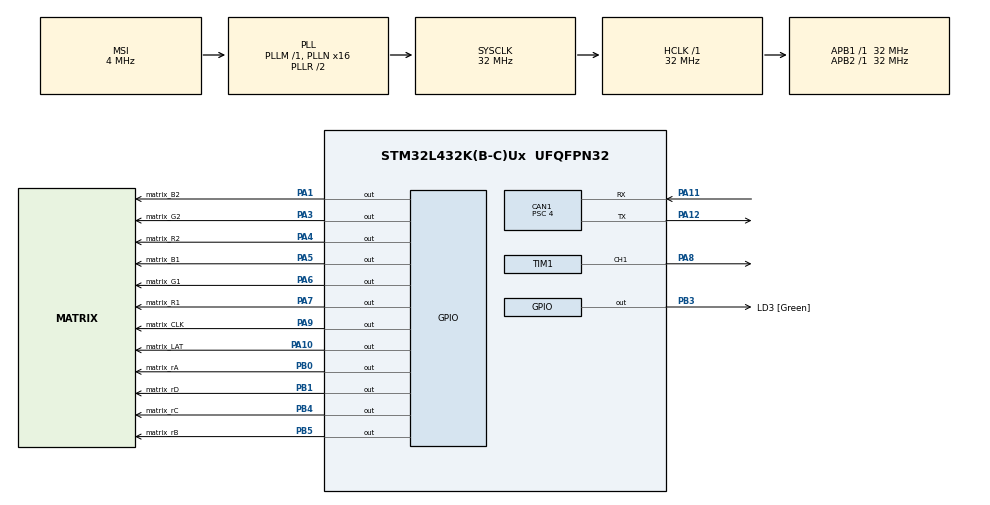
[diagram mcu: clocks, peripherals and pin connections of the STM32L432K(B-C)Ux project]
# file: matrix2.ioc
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CAN1.ABOM=ENABLE
CAN1.BS1=CAN_BS1_13TQ
CAN1.BS2=CAN_BS2_2TQ
CAN1.CalculateBaudRate=500000
CAN1.CalculateTimeBit=2000
CAN1.CalculateTimeQuantum=125.0
CAN1.NART=ENABLE
CAN1.Prescaler=4
Mcu.Family=STM32L4
Mcu.Name=STM32L432K(B-C)Ux
Mcu.Package=UFQFPN32
NVIC.CAN1_RX0_IRQn=true\:0\:0\:false\:false\:true\:true\:true\:true
NVIC.PriorityGroup=NVIC_PRIORITYGROUP_4
NVIC.TIM6_DAC_IRQn=true\:0\:0\:false\:false\:true\:true\:true\:true
PA0.GPIO_Label=MCO [High speed clock in]
PA0.Mode=HSE-External-Clock-Source-for-LittleOrca
PA0.Signal=RCC_CK_IN
PA1.GPIO_Label=matrix_B2
PA1.Signal=GPIO_Output
PA10.GPIO_Label=matrix_LAT
PA10.Signal=GPIO_Output
PA11.Mode=CAN_Activate
PA11.Signal=CAN1_RX
PA12.Mode=CAN_Activate
PA12.Signal=CAN1_TX
PA13\ (JTMS-SWDIO).GPIO_Label=SWDIO
PA13\ (JTMS-SWDIO).Mode=Serial_Wire
PA13\ (JTMS-SWDIO).Signal=SYS_JTMS-SWDIO
PA14\ (JTCK-SWCLK).GPIO_Label=SWCLK
PA14\ (JTCK-SWCLK).Mode=Serial_Wire
PA14\ (JTCK-SWCLK).Signal=SYS_JTCK-SWCLK
PA3.GPIO_Label=matrix_G2
PA3.Signal=GPIO_Output
PA4.GPIO_Label=matrix_R2
PA4.Signal=GPIO_Output
PA5.GPIO_Label=matrix_B1
PA5.Signal=GPIO_Output
PA6.GPIO_Label=matrix_G1
PA6.Signal=GPIO_Output
PA7.GPIO_Label=matrix_R1
PA7.Signal=GPIO_Output
PA8.GPIO_Speed=GPIO_SPEED_FREQ_VERY_HIGH
PA8.Signal=S_TIM1_CH1
PA9.GPIO_Label=matrix_CLK
PA9.Signal=GPIO_Output
PB0.GPIO_Label=matrix_rA
PB0.Signal=GPIO_Output
PB1.GPIO_Label=matrix_rD
PB1.Signal=GPIO_Output
PB3\ (JTDO-TRACESWO).GPIO_Label=LD3 [Green]
PB3\ (JTDO-TRACESWO).Signal=GPIO_Output
PB4\ (NJTRST).GPIO_Label=matrix_rC
PB4\ (NJTRST).Signal=GPIO_Output
PB5.GPIO_Label=matrix_rB
PB5.Signal=GPIO_Output
PC14-OSC32_IN\ (PC14).Mode=LSE-External-Oscillator
PC14-OSC32_IN\ (PC14).Signal=RCC_OSC32_IN
PC15-OSC32_OUT\ (PC15).Mode=LSE-External-Oscillator
PC15-OSC32_OUT\ (PC15).Signal=RCC_OSC32_OUT
ProjectManager.HeapSize=0x200
ProjectManager.StackSize=0x400
ProjectManager.TargetToolchain=STM32CubeIDE
RCC.AHBFreq_Value=32000000
RCC.APB1Freq_Value=32000000
RCC.APB1TimFreq_Value=32000000
RCC.APB2Freq_Value=32000000
RCC.APB2TimFreq_Value=32000000
RCC.CortexFreq_Value=32000000
RCC.HCLKFreq_Value=32000000
RCC.HSE_VALUE=8000000
RCC.HSI16_VALUE=16000000
RCC.HSI48_VALUE=48000000
RCC.HSI_VALUE=16000000
RCC.MSI_VALUE=4000000
RCC.PLLMUL=RCC_PLLMUL_4
RCC.PLLN=16
RCC.SYSCLKFreq_VALUE=32000000
RCC.SYSCLKSource=RCC_SYSCLKSOURCE_PLLCLK
RCC.VCOOutputFreq_Value=64000000
SH.S_TIM1_CH1.0=TIM1_CH1,PWM Generation1 CH1
TIM1.Channel-PWM\ Generation1\ CH1=TIM_CHANNEL_1
TIM1.OCIdleState_1=TIM_OCIDLESTATE_RESET
TIM1.OCMode_PWM-PWM\ Generation1\ CH1=TIM_OCMODE_PWM1
TIM1.OCPolarity_1=TIM_OCPOLARITY_LOW
TIM1.Period=1000
TIM1.Pulse-PWM\ Generation1\ CH1=500
TIM6.Period=5000
TIM6.Prescaler=7200-1
VP_TIM6_VS_ClockSourceINT.Mode=Enable_Timer
board=NUCLEO-L432KC

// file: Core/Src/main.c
/* USER CODE BEGIN Header */
/**
 ******************************************************************************
 * @file           : main.c
 * @brief          : Main program body
 ******************************************************************************
 * @attention
 *
 * Copyright (c) 2026 STMicroelectronics.
 * All rights reserved.
 *
 * This software is licensed under terms that can be found in the LICENSE file
 * in the root directory of this software component.
 * If no LICENSE file comes with this software, it is provided AS-IS.
 *
 ******************************************************************************
 */
/* USER CODE END Header */
#include "main.h"

CAN_HandleTypeDef hcan1;

TIM_HandleTypeDef htim1;
TIM_HandleTypeDef htim6;

/* USER CODE BEGIN PV */
uint8_t state = 0;
CAN_RxHeaderTypeDef rxHeader;
uint8_t rxData[8];
volatile int datacheck = 0;

volatile uint8_t hours = 0;
volatile uint8_t minutes = 0;

volatile int clockOn = 0;
volatile uint8_t dotsDisplayed = 0;
volatile uint8_t dotsFlag = 0;
/* USER CODE END PV */

void SystemClock_Config(void);
static void MX_GPIO_Init(void);
static void MX_CAN1_Init(void);
static void MX_TIM1_Init(void);
static void MX_TIM6_Init(void);

int main(void)
{

  /* USER CODE BEGIN 1 */
	uint8_t boardDisplay[32][64][3]; //[Row][Column][Color-RGB]

	void drawImage_dot(int sc, int sr) {
		static const uint8_t dotData[8][8] = {
			0,0,1,1,1,1,0,0,
			0,1,1,1,1,1,1,0,
			1,1,1,1,1,1,1,1,
			1,1,1,1,1,1,1,1,
			1,1,1,1,1,1,1,1,
			1,1,1,1,1,1,1,1,
			0,1,1,1,1,1,1,0,
			0,0,1,1,1,1,0,0
		};
		for (int r=0; r < 8; r++) {
			for (int c=0; c < 8; c++) {
				boardDisplay[r+sr][c+sc][0] =dotData[c][r];
			}
		}
	}

	void drawVoid(int sc, int sr, int xSize, int ySize) {
		for (int r=0; r < ySize; r++) {
					for (int c=0; c < xSize; c++) {
						boardDisplay[r+sr][c+sc][0] =0;
					}
				}
	}

	void drawNumber_zero(int sc, int sr) {
		static const uint8_t zeroData[24][12] = {
				0,0,0,0,1,1,1,1,0,0,0,0,
				0,0,0,1,1,1,1,1,1,0,0,0,
				0,0,1,1,1,1,1,1,1,1,0,0,
				0,0,1,1,1,0,0,1,1,1,0,0,
				0,1,1,1,0,0,0,0,1,1,1,0,
				0,1,1,1,0,0,0,0,1,1,1,0,
				0,1,1,1,0,0,0,0,1,1,1,0,
				1,1,1,0,0,0,0,0,0,1,1,1,
				1,1,1,0,0,0,0,0,0,1,1,1,
				1,1,1,0,0,0,0,0,0,1,1,1,
				1,1,1,0,0,0,0,0,0,1,1,1,
				1,1,1,0,0,0,0,0,0,1,1,1,
				1,1,1,0,0,0,0,0,0,1,1,1,
				1,1,1,0,0,0,0,0,0,1,1,1,
				1,1,1,0,0,0,0,0,0,1,1,1,
				1,1,1,0,0,0,0,0,0,1,1,1,
				1,1,1,0,0,0,0,0,0,1,1,1,
				0,1,1,1,0,0,0,0,1,1,1,0,
				0,1,1,1,0,0,0,0,1,1,1,0,
				0,1,1,1,0,0,0,0,1,1,1,0,
				0,0,1,1,1,0,0,1,1,1,0,0,
				0,0,1,1,1,1,1,1,1,1,0,0,
				0,0,0,1,1,1,1,1,1,0,0,0,
				0,0,0,0,1,1,1,1,0,0,0,0
		};
		for (int r=0; r < 24; r++) {
			for (int c=0; c < 12; c++) {
				boardDisplay[r+sr][c+sc][0] =zeroData[r][c];
			}
		}
	}

	void drawNumber_one(int sc, int sr) {
		static const uint8_t oneData[24][12] = {
						0,0,0,0,1,1,1,1,0,0,0,0,
						0,0,0,1,1,1,1,1,0,0,0,0,
						0,0,1,1,1,1,1,1,0,0,0,0,
						0,1,1,1,1,1,1,1,0,0,0,0,
						1,1,1,1,1,1,1,1,0,0,0,0,
						1,1,1,1,1,1,1,1,0,0,0,0,
						1,1,1,1,1,1,1,1,0,0,0,0,
						0,0,0,0,1,1,1,1,0,0,0,0,
						0,0,0,0,1,1,1,1,0,0,0,0,
						0,0,0,0,1,1,1,1,0,0,0,0,
						0,0,0,0,1,1,1,1,0,0,0,0,
						0,0,0,0,1,1,1,1,0,0,0,0,
						0,0,0,0,1,1,1,1,0,0,0,0,
						0,0,0,0,1,1,1,1,0,0,0,0,
						0,0,0,0,1,1,1,1,0,0,0,0,
						0,0,0,0,1,1,1,1,0,0,0,0,
						0,0,0,0,1,1,1,1,0,0,0,0,
						0,0,0,0,1,1,1,1,0,0,0,0,
						0,0,0,0,1,1,1,1,0,0,0,0,
						0,0,0,0,1,1,1,1,0,0,0,0,
						0,1,1,1,1,1,1,1,1,1,1,0,
						1,1,1,1,1,1,1,1,1,1,1,1,
						1,1,1,1,1,1,1,1,1,1,1,1,
						1,1,1,1,1,1,1,1,1,1,1,1
				};
				for (int r=0; r < 24; r++) {
					for (int c=0; c < 12; c++) {
						boardDisplay[r+sr][c+sc][0] =oneData[r][c];
					}
				}
	}

	void drawNumber_two(int sc, int sr) {
		static const uint8_t twoData[24][12] = {
		    0,0,0,1,1,1,1,0,0,0,0,0,
		    0,0,1,1,1,1,1,1,0,0,0,0,
		    0,1,1,1,1,1,1,1,1,0,0,0,
		    1,1,1,1,1,1,1,1,1,1,0,0,
		    1,1,1,1,1,1,1,1,1,1,0,0,
		    0,0,0,0,0,0,1,1,1,1,0,0,
		    0,0,0,0,0,1,1,1,1,0,0,0,
		    0,0,0,0,1,1,1,1,0,0,0,0,
		    0,0,0,1,1,1,1,0,0,0,0,0,
		    0,0,1,1,1,1,0,0,0,0,0,0,
		    0,1,1,1,1,0,0,0,0,0,0,0,
		    1,1,1,1,0,0,0,0,0,0,0,0,
		    1,1,1,0,0,0,0,0,0,0,0,0,
		    1,1,0,0,0,0,0,0,0,0,0,0,
		    1,1,0,0,0,0,0,0,0,0,0,0,
		    1,1,0,0,0,0,0,0,0,0,0,0,
		    1,1,1,1,1,1,1,1,1,1,0,0,
		    1,1,1,1,1,1,1,1,1,1,1,0,
		    1,1,1,1,1,1,1,1,1,1,1,0,
		    1,1,1,1,1,1,1,1,1,1,1,0,
		    1,1,1,1,1,1,1,1,1,1,1,0,
		    1,1,1,1,1,1,1,1,1,1,1,0,
		    1,1,1,1,1,1,1,1,1,1,1,0,
		    0,0,0,0,0,0,0,0,0,0,0,0
		};
			for (int r=0; r < 24; r++) {
				for (int c=0; c < 12; c++) {
					boardDisplay[r+sr][c+sc][0] =twoData[r][c];
				}
			}
		}

	void drawNumber_three(int sc, int sr) {
	    static const uint8_t threeData[24][12] = {
	        0,1,1,1,1,1,1,1,1,1,0,0,
	        1,1,1,1,1,1,1,1,1,1,1,0,
	        1,1,1,1,1,1,1,1,1,1,1,0,
	        0,0,0,0,0,0,1,1,1,1,0,0,
	        0,0,0,0,0,1,1,1,1,0,0,0,
	        0,0,0,0,1,1,1,1,0,0,0,0,
	        0,0,0,1,1,1,1,0,0,0,0,0,
	        0,0,1,1,1,1,0,0,0,0,0,0,
	        0,0,1,1,1,0,0,0,0,0,0,0,
	        0,0,1,1,1,1,1,0,0,0,0,0,
	        0,0,0,0,1,1,1,1,1,0,0,0,
	        0,0,0,0,0,1,1,1,1,1,0,0,
	        0,0,0,0,0,0,0,1,1,1,1,0,
	        0,0,0,0,0,0,0,0,1,1,1,0,
	        0,0,0,0,0,0,0,1,1,1,1,0,
	        0,0,0,0,0,0,1,1,1,1,0,0,
	        0,0,0,0,0,1,1,1,1,0,0,0,
	        0,0,0,0,1,1,1,1,0,0,0,0,
	        0,0,0,1,1,1,1,0,0,0,0,0,
	        0,1,1,1,1,1,1,1,1,1,0,0,
	        1,1,1,1,1,1,1,1,1,1,1,0,
	        1,1,1,1,1,1,1,1,1,1,1,0,
	        0,1,1,1,1,1,1,1,1,1,0,0,
	        0,0,0,0,0,0,0,0,0,0,0,0
	    };

	    for (int r = 0; r < 24; r++) {
	        for (int c = 0; c < 12; c++) {
	            boardDisplay[r + sr][c + sc][0] = threeData[r][c];
	        }
	    }
	}

	void drawNumber_four(int sc, int sr) {
	    static const uint8_t fourData[24][12] = {
	        0,0,0,0,1,1,1,1,0,0,0,0,
	        0,0,0,1,1,1,1,1,0,0,0,0,
	        0,0,1,1,1,1,1,1,0,0,0,0,
	        0,1,1,1,1,1,1,1,0,0,0,0,
	        1,1,1,1,1,1,1,1,0,0,0,0,

	        1,1,1,1,0,0,1,1,1,1,0,0,
	        1,1,1,1,0,0,1,1,1,1,0,0,
	        1,1,1,1,0,0,1,1,1,1,0,0,
	        1,1,1,1,0,0,1,1,1,1,0,0,
	        1,1,1,1,0,0,1,1,1,1,0,0,

	        1,1,1,1,0,0,1,1,1,1,0,0,
	        1,1,1,1,0,0,1,1,1,1,0,0,

	        1,1,1,1,1,1,1,1,1,1,1,1,  // middle bar
	        1,1,1,1,1,1,1,1,1,1,1,1,

	        0,0,0,0,0,0,1,1,1,1,0,0,
	        0,0,0,0,0,0,1,1,1,1,0,0,
	        0,0,0,0,0,0,1,1,1,1,0,0,
	        0,0,0,0,0,0,1,1,1,1,0,0,
	        0,0,0,0,0,0,1,1,1,1,0,0,
	        0,0,0,0,0,0,1,1,1,1,0,0,
	        0,0,0,0,0,0,1,1,1,1,0,0,
	        0,0,0,0,0,0,1,1,1,1,0,0,
	        0,0,0,0,0,0,1,1,1,1,0,0,
	        0,0,0,0,0,0,1,1,1,1,0,0
	    };

	    for (int r = 0; r < 24; r++) {
	        for (int c = 0; c < 12; c++) {
	            boardDisplay[r + sr][c + sc][0] = fourData[r][c];
	        }
	    }
	}

	void drawNumber_five(int sc, int sr) {
	    static const uint8_t fiveData[24][12] = {
	        // top bar
	        1,1,1,1,1,1,1,1,1,1,1,1,
	        1,1,1,1,1,1,1,1,1,1,1,1,

	        // upper left vertical
	        1,1,1,1,0,0,0,0,0,0,0,0,
	        1,1,1,1,0,0,0,0,0,0,0,0,
	        1,1,1,1,0,0,0,0,0,0,0,0,
	        1,1,1,1,0,0,0,0,0,0,0,0,

	        // middle bar
	        1,1,1,1,1,1,1,1,1,1,0,0,
	        1,1,1,1,1,1,1,1,1,1,0,0,

	        // lower right vertical
	        0,0,0,0,0,0,1,1,1,1,0,0,
	        0,0,0,0,0,0,1,1,1,1,0,0,
	        0,0,0,0,0,0,1,1,1,1,0,0,
	        0,0,0,0,0,0,1,1,1,1,0,0,
	        0,0,0,0,0,0,1,1,1,1,0,0,
	        0,0,0,0,0,0,1,1,1,1,0,0,

	        // bottom bar
	        1,1,1,1,1,1,1,1,1,1,1,1,
	        1,1,1,1,1,1,1,1,1,1,1,1,

	        // padding rows (to reach 24 total)
	        0,0,0,0,0,0,0,0,0,0,0,0,
	        0,0,0,0,0,0,0,0,0,0,0,0,
	        0,0,0,0,0,0,0,0,0,0,0,0,
	        0,0,0,0,0,0,0,0,0,0,0,0,
	        0,0,0,0,0,0,0,0,0,0,0,0,
	        0,0,0,0,0,0,0,0,0,0,0,0
	    };

	    for (int r = 0; r < 24; r++) {
	        for (int c = 0; c < 12; c++) {
	            boardDisplay[r + sr][c + sc][0] = fiveData[r][c];
	        }
	    }
	}

	void drawNumber_six(int sc, int sr) {
			static const uint8_t oneData[24][12] = {
							0,0,0,0,0,0,0,0,0,1,1,1,
							0,0,0,0,0,0,0,0,1,1,1,0,
							0,0,0,0,0,0,0,1,1,1,0,0,
							0,0,0,0,0,0,1,1,1,0,0,0,
							0,0,0,0,0,1,1,1,0,0,0,0,
							0,0,0,0,1,1,1,0,0,0,0,0,
							0,0,0,1,1,1,0,0,0,0,0,0,
							0,0,0,1,1,1,0,0,0,0,0,0,
							0,0,1,1,1,0,0,0,0,0,0,0,
							0,0,1,1,1,0,0,0,0,0,0,0,
							0,1,1,1,0,0,0,0,0,0,0,0,
							0,1,1,1,1,1,1,1,1,0,0,0,
							1,1,1,1,1,1,1,1,1,1,0,0,
							1,1,1,1,1,1,1,1,1,1,1,0,
							1,1,1,1,1,0,0,1,1,1,1,1,
							1,1,1,1,0,0,0,0,1,1,1,1,
							1,1,1,0,0,0,0,0,0,1,1,1,
							1,1,1,0,0,0,0,0,0,1,1,1,
							1,1,1,0,0,0,0,0,0,1,1,1,
							1,1,1,1,0,0,0,0,1,1,1,1,
							1,1,1,1,1,0,0,1,1,1,1,1,
							0,1,1,1,1,1,1,1,1,1,1,0,
							0,0,1,1,1,1,1,1,1,1,0,0,
							0,0,0,1,1,1,1,1,1,0,0,0
					};
					for (int r=0; r < 24; r++) {
						for (int c=0; c < 12; c++) {
							boardDisplay[r+sr][c+sc][0] =oneData[r][c];
						}
					}
		}

	void drawNumber_seven(int sc, int sr) {
	    static const uint8_t sevenData[24][12] = {
	        1,1,1,1,1,1,1,1,1,1,1,1,
	        1,1,1,1,1,1,1,1,1,1,1,1,
	        1,1,1,1,1,1,1,1,1,1,1,1,
	        0,0,0,0,0,0,1,1,1,1,0,0,
	        0,0,0,0,0,1,1,1,0,0,0,0,
	        0,0,0,0,1,1,0,0,0,0,0,0,
	        0,0,0,1,1,0,0,0,0,0,0,0,
	        0,0,1,1,0,0,0,0,0,0,0,0,
	        0,1,1,0,0,0,0,0,0,0,0,0,
	        1,1,0,0,0,0,0,0,0,0,0,0,
	        1,0,0,0,0,0,0,0,0,0,0,0,
	        1,0,0,0,0,0,0,0,0,0,0,0,
	        1,0,0,0,0,0,0,0,0,0,0,0,
	        1,0,0,0,0,0,0,0,0,0,0,0,
	        1,0,0,0,0,0,0,0,0,0,0,0,
	        1,0,0,0,0,0,0,0,0,0,0,0,
	        1,0,0,0,0,0,0,0,0,0,0,0,
	        1,0,0,0,0,0,0,0,0,0,0,0,
	        1,0,0,0,0,0,0,0,0,0,0,0,
	        1,0,0,0,0,0,0,0,0,0,0,0,
	        1,0,0,0,0,0,0,0,0,0,0,0,
	        1,0,0,0,0,0,0,0,0,0,0,0,
	        1,0,0,0,0,0,0,0,0,0,0,0,
	        1,0,0,0,0,0,0,0,0,0,0,0
	    };
	    for (int r = 0; r < 24; r++) {
	        for (int c = 0; c < 12; c++) {
	            boardDisplay[r + sr][c + sc][0] = sevenData[r][c];
	        }
	    }
	}

	void drawNumber_eight(int sc, int sr) {
	    static const uint8_t eightData[24][12] = {
	        0,0,0,1,1,1,1,1,1,0,0,0,
	        0,0,1,1,1,1,1,1,1,1,0,0,
	        0,1,1,1,0,0,0,0,1,1,1,0,
	        0,1,1,0,0,0,0,0,0,1,1,0,
	        1,1,1,0,0,0,0,0,0,1,1,1,
	        1,1,1,0,0,0,0,0,0,1,1,1,
	        1,1,1,0,0,0,0,0,0,1,1,1,
	        1,1,1,0,0,0,0,0,0,1,1,1,
	        0,1,1,1,0,0,0,0,1,1,1,0,
	        0,0,1,1,1,0,0,1,1,1,0,0,
	        0,0,0,1,1,1,1,1,1,0,0,0,
	        0,0,1,1,1,0,0,1,1,1,0,0,
	        0,1,1,1,0,0,0,0,1,1,1,0,
	        1,1,1,0,0,0,0,0,0,1,1,1,
	        1,1,1,0,0,0,0,0,0,1,1,1,
	        1,1,1,0,0,0,0,0,0,1,1,1,
	        1,1,1,0,0,0,0,0,0,1,1,1,
	        0,1,1,1,0,0,0,0,1,1,1,0,
	        0,0,1,1,1,1,1,1,1,1,0,0,
	        0,0,0,1,1,1,1,1,1,0,0,0,
	        0,0,0,0,1,1,1,1,0,0,0,0,
	        0,0,0,0,0,1,1,0,0,0,0,0,
	        0,0,0,0,0,1,1,0,0,0,0,0,
	        0,0,0,0,0,0,0,0,0,0,0,0
	    };

	    for (int r = 0; r < 24; r++) {
	        for (int c = 0; c < 12; c++) {
	            boardDisplay[r + sr][c + sc][0] = eightData[r][c];
	        }
	    }
	}

	void drawNumber_nine(int sc, int sr) {
	    static const uint8_t nineData[24][12] = {
	        0,0,0,1,1,1,1,1,1,0,0,0,
	        0,0,1,1,1,1,1,1,1,1,0,0,
	        0,1,1,1,1,1,0,0,1,1,1,0,
	        1,1,1,1,1,0,0,0,1,1,1,1,
	        1,1,1,1,0,0,0,0,1,1,1,1,
	        1,1,1,0,0,0,0,0,0,1,1,1,
	        1,1,1,0,0,0,0,0,0,1,1,1,
	        1,1,1,0,0,0,0,0,0,1,1,1,
	        1,1,1,1,0,0,0,0,1,1,1,1,
	        1,1,1,1,1,0,0,1,1,1,1,1,
	        0,1,1,1,1,1,1,1,1,1,1,0,
	        0,0,1,1,1,1,1,1,1,1,0,0,
	        0,0,0,0,0,0,0,1,1,1,1,1,
	        0,0,0,0,0,0,0,0,1,1,1,1,
	        0,0,0,0,0,0,0,0,0,1,1,1,
	        0,0,0,0,0,0,0,0,0,1,1,1,
	        0,0,0,0,0,0,0,0,0,1,1,1,
	        0,0,0,0,0,0,0,0,1,1,1,1,
	        0,1,1,1,1,1,0,0,1,1,1,1,
	        0,0,1,1,1,1,1,1,1,1,0,0,
	        0,0,0,1,1,1,1,1,1,0,0,0,
	        0,0,0,0,0,0,1,1,1,0,0,0,
	        0,0,0,0,0,1,1,1,0,0,0,0,
	        0,0,0,0,1,1,1,0,0,0,0,0
	    };

	    for (int r = 0; r < 24; r++) {
	        for (int c = 0; c < 12; c++) {
	            boardDisplay[r + sr][c + sc][0] = nineData[r][c];
	        }
	    }
	}

	void printDigit(uint8_t digit, int x) {
		if (digit == 0) {
		    drawNumber_zero(x, 4);
		}
		else if (digit == 1) {
		    drawNumber_one(x, 4);
		}
		else if (digit == 2) {
		    drawNumber_two(x, 4);
		}
		else if (digit == 3) {
		    drawNumber_three(x, 4);
		}
		else if (digit == 4) {
		    drawNumber_four(x, 4);
		}
		else if (digit == 5) {
		    drawNumber_five(x, 4);
		}
		else if (digit == 6) {
		    drawNumber_six(x, 4);
		}
		else if (digit == 7) {
		    drawNumber_seven(x, 4);
		}
		else if (digit == 8) {
		    drawNumber_eight(x, 4);
		}
		else if (digit == 9) {
		    drawNumber_nine(x, 4);
		}
	}

	void printTime(uint8_t hours, uint8_t minutes) {
		uint8_t digit_1 = hours/10;
		uint8_t digit_2 = hours%10;
		uint8_t digit_3 = minutes/10;
		uint8_t digit_4 = minutes%10;
		printDigit(digit_1, 0);
		printDigit(digit_2, 14);
		printDigit(digit_3, 38);
		printDigit(digit_4, 52);
	}

  /* USER CODE END 1 */

  /* MCU Configuration--------------------------------------------------------*/

  /* Reset of all peripherals, Initializes the Flash interface and the Systick. */
  HAL_Init();

  /* Configure the system clock */
  SystemClock_Config();

  /* Initialize all configured peripherals */
  MX_GPIO_Init();
  MX_CAN1_Init();
  MX_TIM1_Init();
  MX_TIM6_Init();
  /* USER CODE BEGIN 2 */
	HAL_GPIO_WritePin(GPIOA, matrix_R1_Pin, GPIO_PIN_RESET);
	HAL_GPIO_WritePin(GPIOA, matrix_B1_Pin, GPIO_PIN_RESET);
	HAL_GPIO_WritePin(GPIOA, matrix_G1_Pin, GPIO_PIN_RESET);

	HAL_GPIO_WritePin(GPIOA, matrix_R2_Pin, GPIO_PIN_RESET);
	HAL_GPIO_WritePin(GPIOA, matrix_B2_Pin, GPIO_PIN_RESET);
	HAL_GPIO_WritePin(GPIOA, matrix_G2_Pin, GPIO_PIN_RESET);

	HAL_GPIO_WritePin(GPIOB, matrix_rA_Pin, GPIO_PIN_RESET);
	HAL_GPIO_WritePin(GPIOB, matrix_rB_Pin, GPIO_PIN_RESET);
	HAL_GPIO_WritePin(GPIOB, matrix_rC_Pin, GPIO_PIN_RESET);
	HAL_GPIO_WritePin(GPIOB, matrix_rD_Pin, GPIO_PIN_RESET);

	HAL_GPIO_WritePin(GPIOA, matrix_LAT_Pin, GPIO_PIN_RESET);
	HAL_GPIO_WritePin(GPIOA, matrix_CLK_Pin, GPIO_PIN_RESET);

	HAL_TIM_PWM_Start(&htim1, TIM_CHANNEL_1);

	CAN_FilterTypeDef filter;

	filter.FilterBank = 0;
	filter.FilterMode = CAN_FILTERMODE_IDMASK;
	filter.FilterScale = CAN_FILTERSCALE_32BIT;
	filter.FilterIdHigh = 0;
	filter.FilterIdLow = 0;
	filter.FilterMaskIdHigh = 0;
	filter.FilterMaskIdLow = 0;
	filter.FilterFIFOAssignment = CAN_FILTER_FIFO0;
	filter.FilterActivation = ENABLE;

	HAL_CAN_ConfigFilter(&hcan1, &filter);
	HAL_CAN_Start(&hcan1);
	if (HAL_CAN_ActivateNotification(&hcan1, CAN_IT_RX_FIFO0_MSG_PENDING)
			!= HAL_OK) {
		Error_Handler();
	}

	HAL_Delay(1000);

	for (int r = 0; r < 32; r++) {
		for (int c = 0; c < 64; c++) {
			boardDisplay[r][c][0] = 0;
			boardDisplay[r][c][1] = 0;
			boardDisplay[r][c][2] = 0;
		}
	}
	int row = 0;

	/*HAL_GPIO_WritePin(GPIOA, matrix_R1_Pin, GPIO_PIN_SET);
	 HAL_Delay(1);
	 HAL_GPIO_WritePin(GPIOA, matrix_CLK_Pin, GPIO_PIN_SET);
	 HAL_Delay(1);
	 HAL_GPIO_WritePin(GPIOA, matrix_CLK_Pin, GPIO_PIN_RESET);
	 HAL_Delay(1);
	 HAL_GPIO_WritePin(GPIOA, matrix_LAT_Pin, GPIO_PIN_SET);
	 HAL_Delay(1);
	 HAL_GPIO_WritePin(GPIOA, matrix_LAT_Pin, GPIO_PIN_RESET);*/
  /* USER CODE END 2 */

  /* Infinite loop */
  /* USER CODE BEGIN WHILE */
	while (1) {
		if (datacheck == 1) {
			datacheck = 0;
			drawImage_dot(28, 6);
			drawImage_dot(28, 18);

			drawNumber_eight(0,4);
			drawNumber_nine(14,4);
			drawNumber_six(38,4);
			drawNumber_seven(52,4);
		}
		else if (datacheck == 2) {
			datacheck = 0;
			if (clockOn) {
				printTime(rxData[0], rxData[1]);
			}
		}
		else if (datacheck == 3) {
			datacheck = 0;
			clockOn = !clockOn;
			if (clockOn) {
				HAL_TIM_Base_Start_IT(&htim6);
			}
			else {
				HAL_TIM_Base_Stop_IT(&htim6);
			}
		}

		if (dotsFlag) {
			dotsDisplayed = !dotsDisplayed;
			if (dotsDisplayed) {
				drawImage_dot(28, 6);
				drawImage_dot(28, 18);
			}else {
				drawVoid(28,6,8,8);
				drawVoid(28, 18, 8, 8);
			}
			dotsFlag = 0;
		}

		if (row >= 15) {
			row = 0;
		} else {
			row += 1;
		}
		int dRow = row;

		__HAL_TIM_SET_COMPARE(&htim1, TIM_CHANNEL_1, 0);

		for (int b = 0; b < 1; b++) {
			HAL_GPIO_WritePin(GPIOA, matrix_LAT_Pin, GPIO_PIN_SET);
			__HAL_TIM_SET_COMPARE(&htim1, TIM_CHANNEL_1, 1000);

			HAL_GPIO_WritePin(GPIOA, matrix_LAT_Pin, GPIO_PIN_RESET);

			int reqThres = 1 << b;
			int row2 = row + 16;
			for (int c = 0; c < 64; c++) {
				if (boardDisplay[row][c][0] >= reqThres) {
					HAL_GPIO_WritePin(GPIOA, matrix_R1_Pin, GPIO_PIN_SET);
				}

				if (boardDisplay[row2][c][0] >= reqThres) {
					HAL_GPIO_WritePin(GPIOA, matrix_R2_Pin, GPIO_PIN_SET);
				}

				if (boardDisplay[row][c][1] >= reqThres) {
					HAL_GPIO_WritePin(GPIOA, matrix_G1_Pin, GPIO_PIN_SET);
				}

				if (boardDisplay[row2][c][1] >= reqThres) {
					HAL_GPIO_WritePin(GPIOA, matrix_G2_Pin, GPIO_PIN_SET);
				}
				/*if (row==0) {
					HAL_GPIO_WritePin(GPIOA, matrix_R1_Pin, GPIO_PIN_SET);
					HAL_GPIO_WritePin(GPIOA, matrix_R2_Pin, GPIO_PIN_SET);
				}*/

				//Toggle clock
				HAL_GPIO_WritePin(GPIOA, matrix_CLK_Pin, GPIO_PIN_SET);
				HAL_GPIO_WritePin(GPIOA, matrix_CLK_Pin, GPIO_PIN_RESET);

				__HAL_TIM_SET_COMPARE(&htim1, TIM_CHANNEL_1, 1000);

				//Turn pins off for next cycle
				HAL_GPIO_WritePin(GPIOA, matrix_R1_Pin, GPIO_PIN_RESET);
				HAL_GPIO_WritePin(GPIOA, matrix_G1_Pin, GPIO_PIN_RESET);
				HAL_GPIO_WritePin(GPIOA, matrix_B1_Pin, GPIO_PIN_RESET);
				HAL_GPIO_WritePin(GPIOA, matrix_R2_Pin, GPIO_PIN_RESET);
				HAL_GPIO_WritePin(GPIOA, matrix_G2_Pin, GPIO_PIN_RESET);
				HAL_GPIO_WritePin(GPIOA, matrix_B2_Pin, GPIO_PIN_RESET);
			}
			if (dRow & 1) {
						HAL_GPIO_WritePin(GPIOB, matrix_rA_Pin, GPIO_PIN_SET);
					} else {
						HAL_GPIO_WritePin(GPIOB, matrix_rA_Pin, GPIO_PIN_RESET);
					}
					if (dRow & 0b10) {
						HAL_GPIO_WritePin(GPIOB, matrix_rB_Pin, GPIO_PIN_SET);
					} else {
						HAL_GPIO_WritePin(GPIOB, matrix_rB_Pin, GPIO_PIN_RESET);
					}
					if (dRow & 0b100) {
						HAL_GPIO_WritePin(GPIOB, matrix_rC_Pin, GPIO_PIN_SET);
					} else {
						HAL_GPIO_WritePin(GPIOB, matrix_rC_Pin, GPIO_PIN_RESET);
					}
					if (dRow & 0b1000) {
						HAL_GPIO_WritePin(GPIOB, matrix_rD_Pin, GPIO_PIN_SET);
					} else {
						HAL_GPIO_WritePin(GPIOB, matrix_rD_Pin, GPIO_PIN_RESET);
					}
			//__HAL_TIM_SET_COMPARE(&htim1, TIM_CHANNEL_1, 250);
		}
    /* USER CODE END WHILE */

	}
}

void SystemClock_Config(void)
{
  RCC_OscInitTypeDef RCC_OscInitStruct = {0};
  RCC_ClkInitTypeDef RCC_ClkInitStruct = {0};

  /** Configure the main internal regulator output voltage
  */
  if (HAL_PWREx_ControlVoltageScaling(PWR_REGULATOR_VOLTAGE_SCALE1) != HAL_OK)
  {
    Error_Handler();
  }

  /** Configure LSE Drive Capability
  */
  HAL_PWR_EnableBkUpAccess();
  __HAL_RCC_LSEDRIVE_CONFIG(RCC_LSEDRIVE_LOW);

  /** Initializes the RCC Oscillators according to the specified parameters
  * in the RCC_OscInitTypeDef structure.
  */
  RCC_OscInitStruct.OscillatorType = RCC_OSCILLATORTYPE_LSE|RCC_OSCILLATORTYPE_MSI;
  RCC_OscInitStruct.LSEState = RCC_LSE_ON;
  RCC_OscInitStruct.MSIState = RCC_MSI_ON;
  RCC_OscInitStruct.MSICalibrationValue = 0;
  RCC_OscInitStruct.MSIClockRange = RCC_MSIRANGE_6;
  RCC_OscInitStruct.PLL.PLLState = RCC_PLL_ON;
  RCC_OscInitStruct.PLL.PLLSource = RCC_PLLSOURCE_MSI;
  RCC_OscInitStruct.PLL.PLLM = 1;
  RCC_OscInitStruct.PLL.PLLN = 16;
  RCC_OscInitStruct.PLL.PLLP = RCC_PLLP_DIV7;
  RCC_OscInitStruct.PLL.PLLQ = RCC_PLLQ_DIV2;
  RCC_OscInitStruct.PLL.PLLR = RCC_PLLR_DIV2;
  if (HAL_RCC_OscConfig(&RCC_OscInitStruct) != HAL_OK)
  {
    Error_Handler();
  }

  /** Initializes the CPU, AHB and APB buses clocks
  */
  RCC_ClkInitStruct.ClockType = RCC_CLOCKTYPE_HCLK|RCC_CLOCKTYPE_SYSCLK
                              |RCC_CLOCKTYPE_PCLK1|RCC_CLOCKTYPE_PCLK2;
  RCC_ClkInitStruct.SYSCLKSource = RCC_SYSCLKSOURCE_PLLCLK;
  RCC_ClkInitStruct.AHBCLKDivider = RCC_SYSCLK_DIV1;
  RCC_ClkInitStruct.APB1CLKDivider = RCC_HCLK_DIV1;
  RCC_ClkInitStruct.APB2CLKDivider = RCC_HCLK_DIV1;

  if (HAL_RCC_ClockConfig(&RCC_ClkInitStruct, FLASH_LATENCY_1) != HAL_OK)
  {
    Error_Handler();
  }

  /** Enable MSI Auto calibration
  */
  HAL_RCCEx_EnableMSIPLLMode();
}

static void MX_CAN1_Init(void)
{

  hcan1.Instance = CAN1;
  hcan1.Init.Prescaler = 4;
  hcan1.Init.Mode = CAN_MODE_NORMAL;
  hcan1.Init.SyncJumpWidth = CAN_SJW_1TQ;
  hcan1.Init.TimeSeg1 = CAN_BS1_13TQ;
  hcan1.Init.TimeSeg2 = CAN_BS2_2TQ;
  hcan1.Init.TimeTriggeredMode = DISABLE;
  hcan1.Init.AutoBusOff = ENABLE;
  hcan1.Init.AutoWakeUp = DISABLE;
  hcan1.Init.AutoRetransmission = ENABLE;
  hcan1.Init.ReceiveFifoLocked = DISABLE;
  hcan1.Init.TransmitFifoPriority = DISABLE;
  if (HAL_CAN_Init(&hcan1) != HAL_OK)
  {
    Error_Handler();
  }

}

static void MX_TIM1_Init(void)
{

  TIM_MasterConfigTypeDef sMasterConfig = {0};
  TIM_OC_InitTypeDef sConfigOC = {0};
  TIM_BreakDeadTimeConfigTypeDef sBreakDeadTimeConfig = {0};

  htim1.Instance = TIM1;
  htim1.Init.Prescaler = 0;
  htim1.Init.CounterMode = TIM_COUNTERMODE_UP;
  htim1.Init.Period = 1000;
  htim1.Init.ClockDivision = TIM_CLOCKDIVISION_DIV1;
  htim1.Init.RepetitionCounter = 0;
  htim1.Init.AutoReloadPreload = TIM_AUTORELOAD_PRELOAD_DISABLE;
  if (HAL_TIM_PWM_Init(&htim1) != HAL_OK)
  {
    Error_Handler();
  }
  sMasterConfig.MasterOutputTrigger = TIM_TRGO_RESET;
  sMasterConfig.MasterOutputTrigger2 = TIM_TRGO2_RESET;
  sMasterConfig.MasterSlaveMode = TIM_MASTERSLAVEMODE_DISABLE;
  if (HAL_TIMEx_MasterConfigSynchronization(&htim1, &sMasterConfig) != HAL_OK)
  {
    Error_Handler();
  }
  sConfigOC.OCMode = TIM_OCMODE_PWM1;
  sConfigOC.Pulse = 500;
  sConfigOC.OCPolarity = TIM_OCPOLARITY_LOW;
  sConfigOC.OCNPolarity = TIM_OCNPOLARITY_HIGH;
  sConfigOC.OCFastMode = TIM_OCFAST_DISABLE;
  sConfigOC.OCIdleState = TIM_OCIDLESTATE_RESET;
  sConfigOC.OCNIdleState = TIM_OCNIDLESTATE_RESET;
  if (HAL_TIM_PWM_ConfigChannel(&htim1, &sConfigOC, TIM_CHANNEL_1) != HAL_OK)
  {
    Error_Handler();
  }
  sBreakDeadTimeConfig.OffStateRunMode = TIM_OSSR_DISABLE;
  sBreakDeadTimeConfig.OffStateIDLEMode = TIM_OSSI_DISABLE;
  sBreakDeadTimeConfig.LockLevel = TIM_LOCKLEVEL_OFF;
  sBreakDeadTimeConfig.DeadTime = 0;
  sBreakDeadTimeConfig.BreakState = TIM_BREAK_DISABLE;
  sBreakDeadTimeConfig.BreakPolarity = TIM_BREAKPOLARITY_HIGH;
  sBreakDeadTimeConfig.BreakFilter = 0;
  sBreakDeadTimeConfig.Break2State = TIM_BREAK2_DISABLE;
  sBreakDeadTimeConfig.Break2Polarity = TIM_BREAK2POLARITY_HIGH;
  sBreakDeadTimeConfig.Break2Filter = 0;
  sBreakDeadTimeConfig.AutomaticOutput = TIM_AUTOMATICOUTPUT_DISABLE;
  if (HAL_TIMEx_ConfigBreakDeadTime(&htim1, &sBreakDeadTimeConfig) != HAL_OK)
  {
    Error_Handler();
  }
  HAL_TIM_MspPostInit(&htim1);

}

static void MX_TIM6_Init(void)
{

  TIM_MasterConfigTypeDef sMasterConfig = {0};

  htim6.Instance = TIM6;
  htim6.Init.Prescaler = 7200-1;
  htim6.Init.CounterMode = TIM_COUNTERMODE_UP;
  htim6.Init.Period = 5000;
  htim6.Init.AutoReloadPreload = TIM_AUTORELOAD_PRELOAD_DISABLE;
  if (HAL_TIM_Base_Init(&htim6) != HAL_OK)
  {
    Error_Handler();
  }
  sMasterConfig.MasterOutputTrigger = TIM_TRGO_RESET;
  sMasterConfig.MasterSlaveMode = TIM_MASTERSLAVEMODE_DISABLE;
  if (HAL_TIMEx_MasterConfigSynchronization(&htim6, &sMasterConfig) != HAL_OK)
  {
    Error_Handler();
  }

}

static void MX_GPIO_Init(void)
{
  GPIO_InitTypeDef GPIO_InitStruct = {0};

  /* GPIO Ports Clock Enable */
  __HAL_RCC_GPIOC_CLK_ENABLE();
  __HAL_RCC_GPIOA_CLK_ENABLE();
  __HAL_RCC_GPIOB_CLK_ENABLE();

  /*Configure GPIO pin Output Level */
  HAL_GPIO_WritePin(GPIOA, matrix_B2_Pin|matrix_G2_Pin|matrix_R2_Pin|matrix_B1_Pin
                          |matrix_G1_Pin|matrix_R1_Pin|matrix_CLK_Pin|matrix_LAT_Pin, GPIO_PIN_RESET);

  /*Configure GPIO pin Output Level */
  HAL_GPIO_WritePin(GPIOB, matrix_rA_Pin|matrix_rD_Pin|LD3_Pin|matrix_rC_Pin
                          |matrix_rB_Pin, GPIO_PIN_RESET);

  /*Configure GPIO pins : matrix_B2_Pin matrix_G2_Pin matrix_R2_Pin matrix_B1_Pin
                           matrix_G1_Pin matrix_R1_Pin matrix_CLK_Pin matrix_LAT_Pin */
  GPIO_InitStruct.Pin = matrix_B2_Pin|matrix_G2_Pin|matrix_R2_Pin|matrix_B1_Pin
                          |matrix_G1_Pin|matrix_R1_Pin|matrix_CLK_Pin|matrix_LAT_Pin;
  GPIO_InitStruct.Mode = GPIO_MODE_OUTPUT_PP;
  GPIO_InitStruct.Pull = GPIO_NOPULL;
  GPIO_InitStruct.Speed = GPIO_SPEED_FREQ_LOW;
  HAL_GPIO_Init(GPIOA, &GPIO_InitStruct);

  /*Configure GPIO pins : matrix_rA_Pin matrix_rD_Pin LD3_Pin matrix_rC_Pin
                           matrix_rB_Pin */
  GPIO_InitStruct.Pin = matrix_rA_Pin|matrix_rD_Pin|LD3_Pin|matrix_rC_Pin
                          |matrix_rB_Pin;
  GPIO_InitStruct.Mode = GPIO_MODE_OUTPUT_PP;
  GPIO_InitStruct.Pull = GPIO_NOPULL;
  GPIO_InitStruct.Speed = GPIO_SPEED_FREQ_LOW;
  HAL_GPIO_Init(GPIOB, &GPIO_InitStruct);

}

/* USER CODE BEGIN 4 */
void HAL_CAN_RxFifo0MsgPendingCallback(CAN_HandleTypeDef *hcan) {
	if (HAL_CAN_GetRxMessage(hcan, CAN_RX_FIFO0, &rxHeader, rxData) != HAL_OK) {
		Error_Handler();
	}
	if ((rxHeader.StdId == 610 && rxHeader.RTR == 0)) {
		datacheck = 1;
	}
	else if (rxHeader.StdId == 620 && rxHeader.RTR == 0) {
		datacheck = 3;
	}
	else if (rxHeader.StdId == 410 && rxHeader.RTR == 0) {
		datacheck = 2;
	}
}

void HAL_TIM_PeriodElapsedCallback(TIM_HandleTypeDef *htim) {
	if (htim->Instance == TIM6) {
		dotsFlag = 1;
	}
}
/* USER CODE END 4 */

void Error_Handler(void)
{
	__disable_irq();
	while (1) {
	}
}
